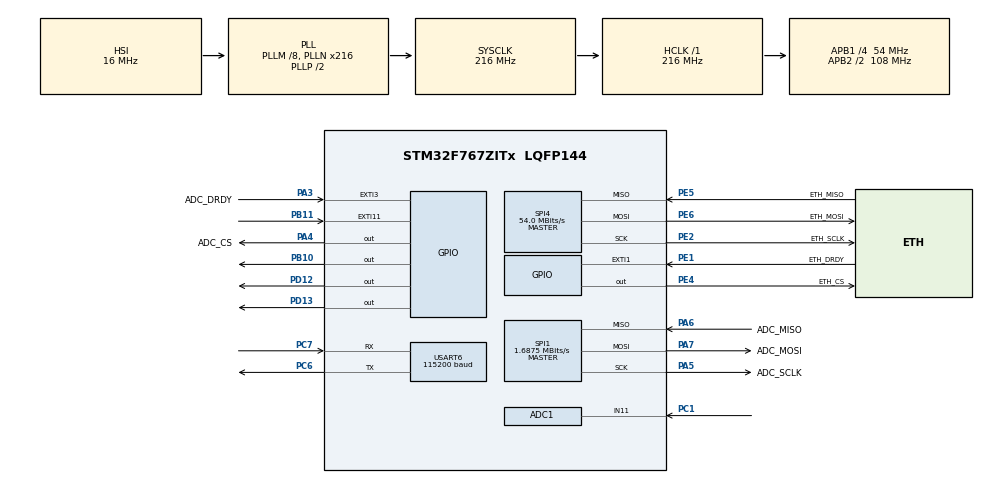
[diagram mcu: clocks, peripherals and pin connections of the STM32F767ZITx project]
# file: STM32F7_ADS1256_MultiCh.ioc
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ADC1.Channel-1\#ChannelRegularConversion=ADC_CHANNEL_11
ADC1.NbrOfConversionFlag=1
ADC1.Rank-1\#ChannelRegularConversion=1
ADC1.SamplingTime-1\#ChannelRegularConversion=ADC_SAMPLETIME_3CYCLES
ADC1.master=1
Dma.Request0=SPI1_RX
Dma.Request1=SPI1_TX
Dma.Request2=USART6_TX
Dma.SPI1_RX.0.Direction=DMA_PERIPH_TO_MEMORY
Dma.SPI1_RX.0.FIFOMode=DMA_FIFOMODE_DISABLE
Dma.SPI1_RX.0.Instance=DMA2_Stream0
Dma.SPI1_RX.0.MemDataAlignment=DMA_MDATAALIGN_BYTE
Dma.SPI1_RX.0.MemInc=DMA_MINC_ENABLE
Dma.SPI1_RX.0.Mode=DMA_NORMAL
Dma.SPI1_RX.0.PeriphDataAlignment=DMA_PDATAALIGN_BYTE
Dma.SPI1_RX.0.PeriphInc=DMA_PINC_DISABLE
Dma.SPI1_RX.0.Priority=DMA_PRIORITY_LOW
Dma.SPI1_TX.1.Direction=DMA_MEMORY_TO_PERIPH
Dma.SPI1_TX.1.FIFOMode=DMA_FIFOMODE_DISABLE
Dma.SPI1_TX.1.Instance=DMA2_Stream3
Dma.SPI1_TX.1.MemDataAlignment=DMA_MDATAALIGN_BYTE
Dma.SPI1_TX.1.MemInc=DMA_MINC_ENABLE
Dma.SPI1_TX.1.Mode=DMA_NORMAL
Dma.SPI1_TX.1.PeriphDataAlignment=DMA_PDATAALIGN_BYTE
Dma.SPI1_TX.1.PeriphInc=DMA_PINC_DISABLE
Dma.SPI1_TX.1.Priority=DMA_PRIORITY_LOW
Dma.USART6_TX.2.Direction=DMA_MEMORY_TO_PERIPH
Dma.USART6_TX.2.FIFOMode=DMA_FIFOMODE_DISABLE
Dma.USART6_TX.2.Instance=DMA2_Stream6
Dma.USART6_TX.2.MemDataAlignment=DMA_MDATAALIGN_BYTE
Dma.USART6_TX.2.MemInc=DMA_MINC_ENABLE
Dma.USART6_TX.2.Mode=DMA_NORMAL
Dma.USART6_TX.2.PeriphDataAlignment=DMA_PDATAALIGN_BYTE
Dma.USART6_TX.2.PeriphInc=DMA_PINC_DISABLE
Dma.USART6_TX.2.Priority=DMA_PRIORITY_LOW
Mcu.Family=STM32F7
Mcu.Name=STM32F767ZITx
Mcu.Package=LQFP144
NVIC.DMA2_Stream0_IRQn=true\:5\:0\:true\:false\:true\:false\:true
NVIC.DMA2_Stream3_IRQn=true\:5\:0\:true\:false\:true\:false\:true
NVIC.DMA2_Stream6_IRQn=true\:0\:0\:false\:false\:true\:false\:true
NVIC.EXTI3_IRQn=true\:7\:0\:true\:false\:true\:true\:true
NVIC.PriorityGroup=NVIC_PRIORITYGROUP_4
NVIC.USART6_IRQn=true\:5\:0\:true\:false\:true\:true\:true
PA3.GPIO_Label=ADC_DRDY
PA3.Signal=GPXTI3
PA4.GPIO_Label=ADC_CS
PA4.GPIO_PuPd=GPIO_PULLUP
PA4.GPIO_Speed=GPIO_SPEED_FREQ_VERY_HIGH
PA4.Signal=GPIO_Output
PA5.GPIO_Label=ADC_SCLK
PA5.Mode=Full_Duplex_Master
PA5.Signal=SPI1_SCK
PA6.GPIO_Label=ADC_MISO
PA6.Mode=Full_Duplex_Master
PA6.Signal=SPI1_MISO
PA7.GPIO_Label=ADC_MOSI
PA7.Mode=Full_Duplex_Master
PA7.Signal=SPI1_MOSI
PB10.GPIO_PuPd=GPIO_PULLUP
PB10.GPIO_Speed=GPIO_SPEED_FREQ_VERY_HIGH
PB10.PinState=GPIO_PIN_RESET
PB10.Signal=GPIO_Output
PB11.GPIO_ModeDefaultEXTI=GPIO_MODE_IT_FALLING
PB11.Signal=GPXTI11
PC1.Signal=ADCx_IN11
PC6.Mode=Asynchronous
PC6.Signal=USART6_TX
PC7.Mode=Asynchronous
PC7.Signal=USART6_RX
PD12.Signal=GPIO_Output
PD13.Signal=GPIO_Output
PE1.GPIO_Label=ETH_DRDY
PE1.Signal=GPXTI1
PE2.GPIO_Label=ETH_SCLK
PE2.Mode=Full_Duplex_Master
PE2.Signal=SPI4_SCK
PE4.GPIO_Label=ETH_CS
PE4.Signal=GPIO_Output
PE5.GPIO_Label=ETH_MISO
PE5.Mode=Full_Duplex_Master
PE5.Signal=SPI4_MISO
PE6.GPIO_Label=ETH_MOSI
PE6.Mode=Full_Duplex_Master
PE6.Signal=SPI4_MOSI
ProjectManager.HeapSize=0x800
ProjectManager.StackSize=0x800
ProjectManager.TargetToolchain=STM32CubeIDE
RCC.48MHZClocksFreq_Value=24000000
RCC.AHBFreq_Value=216000000
RCC.APB1CLKDivider=RCC_HCLK_DIV4
RCC.APB1Freq_Value=54000000
RCC.APB1TimFreq_Value=108000000
RCC.APB2CLKDivider=RCC_HCLK_DIV2
RCC.APB2Freq_Value=108000000
RCC.APB2TimFreq_Value=216000000
RCC.CortexFreq_Value=216000000
RCC.HCLKFreq_Value=216000000
RCC.HSE_VALUE=8000000
RCC.HSI_VALUE=16000000
RCC.LSE_VALUE=32768
RCC.PLLM=8
RCC.PLLMUL=RCC_PLL_MUL9
RCC.PLLN=216
RCC.PRESCALERUSB=RCC_USBCLKSOURCE_PLL_DIV1_5
RCC.SYSCLKFreq_VALUE=216000000
RCC.SYSCLKSource=RCC_SYSCLKSOURCE_PLLCLK
RCC.SYSCLKSourceVirtual=RCC_SYSCLKSOURCE_PLLCLK
RCC.USBFreq_Value=216000000
RCC.VCOOutputFreq_Value=432000000
SH.ADCx_IN11.0=ADC1_IN11,IN11
SPI1.BaudRatePrescaler=SPI_BAUDRATEPRESCALER_64
SPI1.CLKPhase=SPI_PHASE_2EDGE
SPI1.CalculateBaudRate=1.6875 MBits/s
SPI1.DataSize=SPI_DATASIZE_8BIT
SPI1.Direction=SPI_DIRECTION_2LINES
SPI1.Mode=SPI_MODE_MASTER
SPI1.VirtualType=VM_MASTER
SPI4.CalculateBaudRate=54.0 MBits/s
SPI4.Direction=SPI_DIRECTION_2LINES
SPI4.Mode=SPI_MODE_MASTER
SPI4.VirtualType=VM_MASTER
USART6.BaudRate=115200
USART6.VirtualMode-Asynchronous=VM_ASYNC
board=NUCLEO-F767ZI

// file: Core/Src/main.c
/* USER CODE BEGIN Header */
/**
  ******************************************************************************
  * @file           : main.c
  * @brief          : Main program body
  ******************************************************************************
  * @attention
  *
  * <h2><center>&copy; Copyright (c) 2020 STMicroelectronics.
  * All rights reserved.</center></h2>
  *
  * This software component is licensed by ST under BSD 3-Clause license,
  * the "Licens.0e"; You may not use this file except in compliance with the
  * License. You may obtain a copy of the License at:
  *                        opensource.org/licenses/BSD-3-Clause
  *
  ******************************************************************************
  */
/* USER CODE END Header */
#include "main.h"

/* USER CODE BEGIN Includes */
#include "Delay.h"
#include "Calculate_statistic.h"
#include "arm_const_structs.h"
#include "arm_math.h"
#include "ADS1256.h"
#include "BLE_USART.h"
#include "adc_apps.h"
#include <stdio.h>
#include <string.h>

/* USER CODE END Includes */

ADC_HandleTypeDef hadc1;
SPI_HandleTypeDef hspi1;
SPI_HandleTypeDef hspi4;
DMA_HandleTypeDef hdma_spi1_rx;
DMA_HandleTypeDef hdma_spi1_tx;

UART_HandleTypeDef huart6;
DMA_HandleTypeDef hdma_usart6_tx;

/* USER CODE BEGIN PV */
/*
 * I2C private value
 * */

typedef enum _sensor_channel{
	sensor1 = 0,
	sensor2 = 1,
	sensor3 = 2,
	sensor4 = 3,

}adc_channel;

union FLOAT_BYTE
{
 float f;
 unsigned char n[4];
}F2B;

/*
 *TODO: Define STM32 Studio charting value
 * */

uint8_t SDATA[1] = {CMD_RDATA};
uint8_t tempbuffer[3] = {0x00,0x00,0x00};

int id=0;
int adc_status=0;
int channel = 0;
int dataSize = 100;
_Bool isSwitch = 0;
float R;
float vMax;
float iMax;
float voltage;
float current;
float voltage_tmp;
float current_tmp;
float ref_v;
int tf_size;
_Bool tf_status = 0;
unsigned char tf_buff[35];

float v_f[2500];
float i_f[2500];
//uint8_t transmissionDataByUart[4500];

uint8_t STX[2] = {0xff,0x02};
uint8_t ETX[2] = {0xff,0x03};

typedef struct
{

	int cnt;
	float max;
	int index;

}sensor;

sensor v;
sensor i;
float p;

/*
 *
 * TODO: For FFT_Thread Bluetooth transmit
 * using moving average while variable times is 3
 * variable : d
 *
 * */
uint8_t averageTimes = 0;

/*
 * TODO: Define send to ADC message
 * */

//TODO: BLE 080i
USART_BLE USARTBLE;
/*
 * TODO:Define Statistic function
 */
extern Sv statistic_value;
/* FreeRTOS private variables;*/

/* USER CODE END PV */

void SystemClock_Config(void);
static void MX_GPIO_Init(void);
static void MX_DMA_Init(void);
static void MX_SPI1_Init(void);
static void MX_USART6_UART_Init(void);
static void MX_ADC1_Init(void);
static void MX_SPI4_Init(void);

/* USER CODE BEGIN 0 */

/*=============================================================================================================
 * TODO: IIC Function
 *
 *
 * */

//TODO: extern float32_t testInput_f32_10khz[TEST_LENGTH_SAMPLES];

/* USER CODE END 0 */

int main(void)
{

  /* MCU Configuration--------------------------------------------------------*/

  /* Reset of all peripherals, Initializes the Flash interface and the Systick. */
  HAL_Init();

  /* Configure the system clock */
  SystemClock_Config();

  /* Initialize all configured peripherals */
  MX_GPIO_Init();
  MX_DMA_Init();
  MX_SPI1_Init();
  MX_USART6_UART_Init();
  MX_ADC1_Init();
  MX_SPI4_Init();
  /* USER CODE BEGIN 2 */
   //TODO: Initialize delay systick
  delay_init(216);
  TM_Delay_Init();
  // init reference voltage
  ADC1_Conv(&hadc1);
  ref_v = (float)(ADC_1.Vol[0])/4096*3.3;
  //TODO: ADS1256 init
  id = ADS1256_init();
  v.cnt = 0;
  i.cnt = 0;

   //TODO: Set continuous mode.

  /* USER CODE END 2 */

  /* Infinite loop */
  while (1)
  {

    /* USER CODE BEGIN 3 */

	  if (tf_status)
	  {
			arm_max_f32(v_f, 2400, &v.max, &v.index);
			arm_max_f32(i_f, 2400, &i.max, &i.index);

			vMax = v.max*49.9;
			iMax = (i.max-ref_v)*10;
			R = vMax / iMax;
			p = iMax*vMax;
			snprintf(tf_buff,50, "%.2f,%.2f,%.2f,%.2f\n", vMax,iMax,R,p);
			USARTBLE.bufferSize = min_(tf_buff, strlen(tf_buff));
			HAL_UART_Transmit_DMA(&huart6, tf_buff, USARTBLE.bufferSize);

			ADC1_Conv(&hadc1);
			ref_v = (float)(ADC_1.Vol[0])/4096*3.3;
			memset(tf_buff , 0, USARTBLE.bufferSize);
			memset(v_f , 0, strlen(v_f));
			memset(i_f , 0, strlen(i_f));
			tf_status = 0;
			HAL_GPIO_TogglePin(GPIOD, GPIO_PIN_12);
	  }

  }
  /* USER CODE END 3 */
}

void SystemClock_Config(void)
{
  RCC_OscInitTypeDef RCC_OscInitStruct = {0};
  RCC_ClkInitTypeDef RCC_ClkInitStruct = {0};
  RCC_PeriphCLKInitTypeDef PeriphClkInitStruct = {0};

  /** Configure the main internal regulator output voltage
  */
  __HAL_RCC_PWR_CLK_ENABLE();
  __HAL_PWR_VOLTAGESCALING_CONFIG(PWR_REGULATOR_VOLTAGE_SCALE1);
  /** Initializes the RCC Oscillators according to the specified parameters
  * in the RCC_OscInitTypeDef structure.
  */
  RCC_OscInitStruct.OscillatorType = RCC_OSCILLATORTYPE_HSI;
  RCC_OscInitStruct.HSIState = RCC_HSI_ON;
  RCC_OscInitStruct.HSICalibrationValue = RCC_HSICALIBRATION_DEFAULT;
  RCC_OscInitStruct.PLL.PLLState = RCC_PLL_ON;
  RCC_OscInitStruct.PLL.PLLSource = RCC_PLLSOURCE_HSI;
  RCC_OscInitStruct.PLL.PLLM = 8;
  RCC_OscInitStruct.PLL.PLLN = 216;
  RCC_OscInitStruct.PLL.PLLP = RCC_PLLP_DIV2;
  RCC_OscInitStruct.PLL.PLLQ = 2;
  if (HAL_RCC_OscConfig(&RCC_OscInitStruct) != HAL_OK)
  {
    Error_Handler();
  }
  /** Activate the Over-Drive mode
  */
  if (HAL_PWREx_EnableOverDrive() != HAL_OK)
  {
    Error_Handler();
  }
  /** Initializes the CPU, AHB and APB buses clocks
  */
  RCC_ClkInitStruct.ClockType = RCC_CLOCKTYPE_HCLK|RCC_CLOCKTYPE_SYSCLK
                              |RCC_CLOCKTYPE_PCLK1|RCC_CLOCKTYPE_PCLK2;
  RCC_ClkInitStruct.SYSCLKSource = RCC_SYSCLKSOURCE_PLLCLK;
  RCC_ClkInitStruct.AHBCLKDivider = RCC_SYSCLK_DIV1;
  RCC_ClkInitStruct.APB1CLKDivider = RCC_HCLK_DIV4;
  RCC_ClkInitStruct.APB2CLKDivider = RCC_HCLK_DIV2;

  if (HAL_RCC_ClockConfig(&RCC_ClkInitStruct, FLASH_LATENCY_7) != HAL_OK)
  {
    Error_Handler();
  }
  PeriphClkInitStruct.PeriphClockSelection = RCC_PERIPHCLK_USART6;
  PeriphClkInitStruct.Usart6ClockSelection = RCC_USART6CLKSOURCE_PCLK2;
  if (HAL_RCCEx_PeriphCLKConfig(&PeriphClkInitStruct) != HAL_OK)
  {
    Error_Handler();
  }
}

static void MX_ADC1_Init(void)
{

  ADC_ChannelConfTypeDef sConfig = {0};

  /** Configure the global features of the ADC (Clock, Resolution, Data Alignment and number of conversion)
  */
  hadc1.Instance = ADC1;
  hadc1.Init.ClockPrescaler = ADC_CLOCK_SYNC_PCLK_DIV4;
  hadc1.Init.Resolution = ADC_RESOLUTION_12B;
  hadc1.Init.ScanConvMode = ADC_SCAN_DISABLE;
  hadc1.Init.ContinuousConvMode = DISABLE;
  hadc1.Init.DiscontinuousConvMode = DISABLE;
  hadc1.Init.ExternalTrigConvEdge = ADC_EXTERNALTRIGCONVEDGE_NONE;
  hadc1.Init.ExternalTrigConv = ADC_SOFTWARE_START;
  hadc1.Init.DataAlign = ADC_DATAALIGN_RIGHT;
  hadc1.Init.NbrOfConversion = 1;
  hadc1.Init.DMAContinuousRequests = DISABLE;
  hadc1.Init.EOCSelection = ADC_EOC_SINGLE_CONV;
  if (HAL_ADC_Init(&hadc1) != HAL_OK)
  {
    Error_Handler();
  }
  /** Configure for the selected ADC regular channel its corresponding rank in the sequencer and its sample time.
  */
  sConfig.Channel = ADC_CHANNEL_11;
  sConfig.Rank = ADC_REGULAR_RANK_1;
  sConfig.SamplingTime = ADC_SAMPLETIME_3CYCLES;
  if (HAL_ADC_ConfigChannel(&hadc1, &sConfig) != HAL_OK)
  {
    Error_Handler();
  }

}

static void MX_SPI1_Init(void)
{

  /* SPI1 parameter configuration*/
  hspi1.Instance = SPI1;
  hspi1.Init.Mode = SPI_MODE_MASTER;
  hspi1.Init.Direction = SPI_DIRECTION_2LINES;
  hspi1.Init.DataSize = SPI_DATASIZE_8BIT;
  hspi1.Init.CLKPolarity = SPI_POLARITY_LOW;
  hspi1.Init.CLKPhase = SPI_PHASE_2EDGE;
  hspi1.Init.NSS = SPI_NSS_SOFT;
  hspi1.Init.BaudRatePrescaler = SPI_BAUDRATEPRESCALER_64;
  hspi1.Init.FirstBit = SPI_FIRSTBIT_MSB;
  hspi1.Init.TIMode = SPI_TIMODE_DISABLE;
  hspi1.Init.CRCCalculation = SPI_CRCCALCULATION_DISABLE;
  hspi1.Init.CRCPolynomial = 7;
  hspi1.Init.CRCLength = SPI_CRC_LENGTH_DATASIZE;
  hspi1.Init.NSSPMode = SPI_NSS_PULSE_DISABLE;
  if (HAL_SPI_Init(&hspi1) != HAL_OK)
  {
    Error_Handler();
  }

}

static void MX_SPI4_Init(void)
{

  /* SPI4 parameter configuration*/
  hspi4.Instance = SPI4;
  hspi4.Init.Mode = SPI_MODE_MASTER;
  hspi4.Init.Direction = SPI_DIRECTION_2LINES;
  hspi4.Init.DataSize = SPI_DATASIZE_4BIT;
  hspi4.Init.CLKPolarity = SPI_POLARITY_LOW;
  hspi4.Init.CLKPhase = SPI_PHASE_1EDGE;
  hspi4.Init.NSS = SPI_NSS_SOFT;
  hspi4.Init.BaudRatePrescaler = SPI_BAUDRATEPRESCALER_2;
  hspi4.Init.FirstBit = SPI_FIRSTBIT_MSB;
  hspi4.Init.TIMode = SPI_TIMODE_DISABLE;
  hspi4.Init.CRCCalculation = SPI_CRCCALCULATION_DISABLE;
  hspi4.Init.CRCPolynomial = 7;
  hspi4.Init.CRCLength = SPI_CRC_LENGTH_DATASIZE;
  hspi4.Init.NSSPMode = SPI_NSS_PULSE_ENABLE;
  if (HAL_SPI_Init(&hspi4) != HAL_OK)
  {
    Error_Handler();
  }

}

static void MX_USART6_UART_Init(void)
{

  huart6.Instance = USART6;
  huart6.Init.BaudRate = 115200;
  huart6.Init.WordLength = UART_WORDLENGTH_8B;
  huart6.Init.StopBits = UART_STOPBITS_1;
  huart6.Init.Parity = UART_PARITY_NONE;
  huart6.Init.Mode = UART_MODE_TX_RX;
  huart6.Init.HwFlowCtl = UART_HWCONTROL_NONE;
  huart6.Init.OverSampling = UART_OVERSAMPLING_16;
  huart6.Init.OneBitSampling = UART_ONE_BIT_SAMPLE_DISABLE;
  huart6.AdvancedInit.AdvFeatureInit = UART_ADVFEATURE_NO_INIT;
  if (HAL_UART_Init(&huart6) != HAL_OK)
  {
    Error_Handler();
  }

}

static void MX_DMA_Init(void)
{

  /* DMA controller clock enable */
  __HAL_RCC_DMA2_CLK_ENABLE();

  /* DMA interrupt init */
  /* DMA2_Stream0_IRQn interrupt configuration */
  HAL_NVIC_SetPriority(DMA2_Stream0_IRQn, 5, 0);
  HAL_NVIC_EnableIRQ(DMA2_Stream0_IRQn);
  /* DMA2_Stream3_IRQn interrupt configuration */
  HAL_NVIC_SetPriority(DMA2_Stream3_IRQn, 5, 0);
  HAL_NVIC_EnableIRQ(DMA2_Stream3_IRQn);
  /* DMA2_Stream6_IRQn interrupt configuration */
  HAL_NVIC_SetPriority(DMA2_Stream6_IRQn, 0, 0);
  HAL_NVIC_EnableIRQ(DMA2_Stream6_IRQn);

}

static void MX_GPIO_Init(void)
{
  GPIO_InitTypeDef GPIO_InitStruct = {0};

  /* GPIO Ports Clock Enable */
  __HAL_RCC_GPIOE_CLK_ENABLE();
  __HAL_RCC_GPIOC_CLK_ENABLE();
  __HAL_RCC_GPIOA_CLK_ENABLE();
  __HAL_RCC_GPIOB_CLK_ENABLE();
  __HAL_RCC_GPIOD_CLK_ENABLE();

  /*Configure GPIO pin Output Level */
  HAL_GPIO_WritePin(ETH_CS_GPIO_Port, ETH_CS_Pin, GPIO_PIN_RESET);

  /*Configure GPIO pin Output Level */
  HAL_GPIO_WritePin(ADC_CS_GPIO_Port, ADC_CS_Pin, GPIO_PIN_RESET);

  /*Configure GPIO pin Output Level */
  HAL_GPIO_WritePin(GPIOB, GPIO_PIN_10, GPIO_PIN_RESET);

  /*Configure GPIO pin Output Level */
  HAL_GPIO_WritePin(GPIOD, GPIO_PIN_12|GPIO_PIN_13, GPIO_PIN_RESET);

  /*Configure GPIO pin : ETH_CS_Pin */
  GPIO_InitStruct.Pin = ETH_CS_Pin;
  GPIO_InitStruct.Mode = GPIO_MODE_OUTPUT_PP;
  GPIO_InitStruct.Pull = GPIO_NOPULL;
  GPIO_InitStruct.Speed = GPIO_SPEED_FREQ_LOW;
  HAL_GPIO_Init(ETH_CS_GPIO_Port, &GPIO_InitStruct);

  /*Configure GPIO pin : ADC_DRDY_Pin */
  GPIO_InitStruct.Pin = ADC_DRDY_Pin;
  GPIO_InitStruct.Mode = GPIO_MODE_IT_RISING;
  GPIO_InitStruct.Pull = GPIO_NOPULL;
  HAL_GPIO_Init(ADC_DRDY_GPIO_Port, &GPIO_InitStruct);

  /*Configure GPIO pin : ADC_CS_Pin */
  GPIO_InitStruct.Pin = ADC_CS_Pin;
  GPIO_InitStruct.Mode = GPIO_MODE_OUTPUT_PP;
  GPIO_InitStruct.Pull = GPIO_PULLUP;
  GPIO_InitStruct.Speed = GPIO_SPEED_FREQ_VERY_HIGH;
  HAL_GPIO_Init(ADC_CS_GPIO_Port, &GPIO_InitStruct);

  /*Configure GPIO pin : PB10 */
  GPIO_InitStruct.Pin = GPIO_PIN_10;
  GPIO_InitStruct.Mode = GPIO_MODE_OUTPUT_PP;
  GPIO_InitStruct.Pull = GPIO_PULLUP;
  GPIO_InitStruct.Speed = GPIO_SPEED_FREQ_VERY_HIGH;
  HAL_GPIO_Init(GPIOB, &GPIO_InitStruct);

  /*Configure GPIO pin : PB11 */
  GPIO_InitStruct.Pin = GPIO_PIN_11;
  GPIO_InitStruct.Mode = GPIO_MODE_IT_FALLING;
  GPIO_InitStruct.Pull = GPIO_NOPULL;
  HAL_GPIO_Init(GPIOB, &GPIO_InitStruct);

  /*Configure GPIO pins : PD12 PD13 */
  GPIO_InitStruct.Pin = GPIO_PIN_12|GPIO_PIN_13;
  GPIO_InitStruct.Mode = GPIO_MODE_OUTPUT_PP;
  GPIO_InitStruct.Pull = GPIO_NOPULL;
  GPIO_InitStruct.Speed = GPIO_SPEED_FREQ_LOW;
  HAL_GPIO_Init(GPIOD, &GPIO_InitStruct);

  /*Configure GPIO pin : ETH_DRDY_Pin */
  GPIO_InitStruct.Pin = ETH_DRDY_Pin;
  GPIO_InitStruct.Mode = GPIO_MODE_IT_RISING;
  GPIO_InitStruct.Pull = GPIO_NOPULL;
  HAL_GPIO_Init(ETH_DRDY_GPIO_Port, &GPIO_InitStruct);

  /* EXTI interrupt init*/
  HAL_NVIC_SetPriority(EXTI3_IRQn, 7, 0);
  HAL_NVIC_EnableIRQ(EXTI3_IRQn);

}

/* USER CODE BEGIN 4 */
void HAL_GPIO_EXTI_Callback(uint16_t GPIO_Pin)
{

	if(GPIO_Pin == GPIO_PIN_3 &&id==3 )
	{

		switch(channel)
		{
		case sensor1:
			if(isSwitch)
			{
				/**
				 * pass data
				 * After switching channels, the first data read is from the previous channel
				 */

//				ADS1256_GetChannalValue();
				isSwitch=0;
			}
			else{
				waitDRDY();
				voltage_tmp = ADS1256_GetChannalValue();
	  			v_f[v.cnt]=voltage_tmp;
	  			v.cnt++;
	  			/**
	  			 * Switch channel after receiving 100 values
	  			 */
	  			if(v.cnt%dataSize==0)
	  			{
	  				ADS1256_SwitchChannalValue(sensor2);
	  				channel = sensor2;
	  				isSwitch = 1;
	  			}
			}
			break;

		case sensor2:
			if(isSwitch)
			{
//				ADS1256_GetChannalValue();
				isSwitch=0;
			}
			else{
				waitDRDY();
				current_tmp = ADS1256_GetChannalValue();
	  			i_f[i.cnt]=current_tmp;
	  			i.cnt++;

	  			if(i.cnt%dataSize==0)
	  			{
	  				ADS1256_SwitchChannalValue(sensor1);
	  				channel = sensor1;
	  				isSwitch = 1;
	  			}
			}
			break;
		}
		if (v.cnt >=2400 && i.cnt >=2400)
		{
			//HAL_GPIO_TogglePin(GPIOD, GPIO_PIN_13);
			v.cnt=0;
			i.cnt=0;
			tf_status = 1;

//			F2B.f = R;
//			BaseType_t xHigherPriorityTaskWoken;
//			xHigherPriorityTaskWoken = pdFALSE;
//			xSemaphoreGiveFromISR(UARTSemHandle,&xHigherPriorityTaskWoken);
		}
	}
}

/* USER CODE END 4 */

void Error_Handler(void)
{
}

/************************ (C) COPYRIGHT STMicroelectronics *****END OF FILE****/
